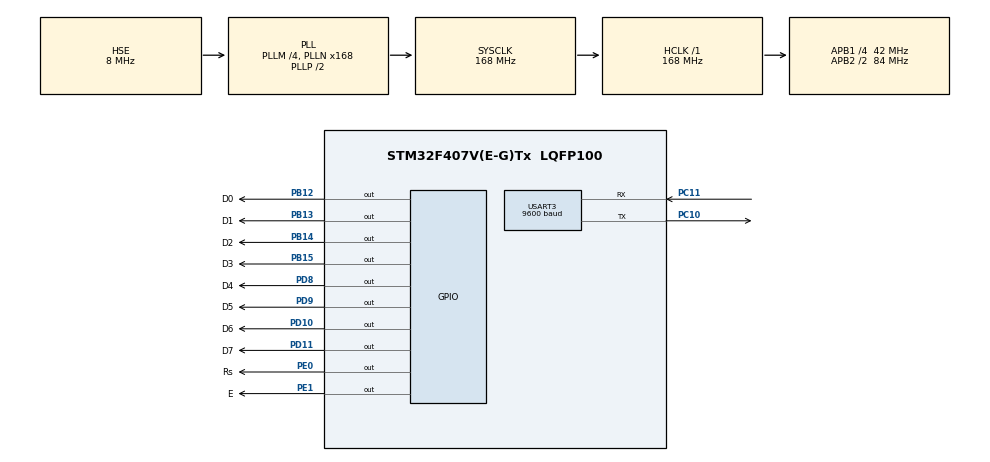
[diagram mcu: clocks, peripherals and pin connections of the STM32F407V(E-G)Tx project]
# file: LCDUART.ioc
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Mcu.Family=STM32F4
Mcu.Name=STM32F407V(E-G)Tx
Mcu.Package=LQFP100
NVIC.PriorityGroup=NVIC_PRIORITYGROUP_4
NVIC.USART3_IRQn=true\:0\:0\:false\:false\:true\:true\:true
PB12.GPIO_Label=D0
PB12.Signal=GPIO_Output
PB13.GPIO_Label=D1
PB13.Signal=GPIO_Output
PB14.GPIO_Label=D2
PB14.Signal=GPIO_Output
PB15.GPIO_Label=D3
PB15.Signal=GPIO_Output
PC10.Mode=Asynchronous
PC10.Signal=USART3_TX
PC11.Mode=Asynchronous
PC11.Signal=USART3_RX
PD10.GPIO_Label=D6
PD10.Signal=GPIO_Output
PD11.GPIO_Label=D7
PD11.Signal=GPIO_Output
PD8.GPIO_Label=D4
PD8.Signal=GPIO_Output
PD9.GPIO_Label=D5
PD9.Signal=GPIO_Output
PE0.GPIO_Label=Rs
PE0.Signal=GPIO_Output
PE1.GPIO_Label=E
PE1.Signal=GPIO_Output
PH0-OSC_IN.Mode=HSE-External-Oscillator
PH0-OSC_IN.Signal=RCC_OSC_IN
PH1-OSC_OUT.Mode=HSE-External-Oscillator
PH1-OSC_OUT.Signal=RCC_OSC_OUT
ProjectManager.HeapSize=0x200
ProjectManager.StackSize=0x400
ProjectManager.TargetToolchain=SW4STM32
RCC.48MHZClocksFreq_Value=84000000
RCC.AHBFreq_Value=168000000
RCC.APB1CLKDivider=RCC_HCLK_DIV4
RCC.APB1Freq_Value=42000000
RCC.APB1TimFreq_Value=84000000
RCC.APB2CLKDivider=RCC_HCLK_DIV2
RCC.APB2Freq_Value=84000000
RCC.APB2TimFreq_Value=168000000
RCC.CortexFreq_Value=168000000
RCC.HCLKFreq_Value=168000000
RCC.HSE_VALUE=8000000
RCC.HSI_VALUE=16000000
RCC.LSE_VALUE=32768
RCC.PLLM=4
RCC.PLLN=168
RCC.PLLSourceVirtual=RCC_PLLSOURCE_HSE
RCC.SYSCLKFreq_VALUE=168000000
RCC.SYSCLKSource=RCC_SYSCLKSOURCE_PLLCLK
RCC.VCOOutputFreq_Value=336000000
USART3.BaudRate=9600
USART3.VirtualMode=VM_ASYNC
board=custom

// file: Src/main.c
/* USER CODE BEGIN Header */
/**
  ******************************************************************************
  * @file           : main.c
  * @brief          : Main program body
  ******************************************************************************
  * @attention
  *
  * <h2><center>&copy; Copyright (c) 2019 STMicroelectronics.
  * All rights reserved.</center></h2>
  *
  * This software component is licensed by ST under BSD 3-Clause license,
  * the "License"; You may not use this file except in compliance with the
  * License. You may obtain a copy of the License at:
  *                        opensource.org/licenses/BSD-3-Clause
  *
  ******************************************************************************
  */
/* USER CODE END Header */

#include "main.h"

/* USER CODE BEGIN Includes */
#include "stm32f4xx_hal_conf.h"
#include "STM_MY_LCD16X2.h"
/* USER CODE END Includes */

UART_HandleTypeDef huart3;

/* USER CODE BEGIN PV */
uint8_t sendUART[2] = {65, 'B'};
uint16_t sizeSendUART = 2;
uint8_t receiveUART[64];
uint16_t sizeReceiveUART = 64;

/* USER CODE END PV */

void SystemClock_Config(void);
static void MX_GPIO_Init(void);
static void MX_USART3_UART_Init(void);

int main(void)
{
  /* USER CODE BEGIN 1 */
char wynik[64];
  /* USER CODE END 1 */

  /* MCU Configuration--------------------------------------------------------*/

  /* Reset of all peripherals, Initializes the Flash interface and the Systick. */
  HAL_Init();

  /* USER CODE BEGIN Init */
int coursorPosition = 1;
  /* USER CODE END Init */

  /* Configure the system clock */
  SystemClock_Config();

  /* USER CODE BEGIN SysInit */
  HAL_Delay(50);
  /* USER CODE END SysInit */

  /* Initialize all configured peripherals */
  MX_GPIO_Init();
  MX_USART3_UART_Init();
  /* USER CODE BEGIN 2 */
  LCD1602_Begin8BIT(Rs_GPIO_Port, Rs_Pin, E_Pin, D0_GPIO_Port, D0_Pin, D1_Pin, D2_Pin, D3_Pin, D4_GPIO_Port, D4_Pin, D5_Pin, D6_Pin, D7_Pin );
  LCD1602_SetCGRAM();
  LCD1602_noCursor();
  LCD1602_noBlink();
  LCD1602_1stLine();
  LCD1602_print("<<MUSIC Player>>");
  /* USER CODE END 2 */

  /* Infinite loop */
  /* USER CODE BEGIN WHILE */
  while (1)
  {
	  /*Receive data from PC*/
	  HAL_UART_Receive_IT(&huart3, receiveUART, sizeReceiveUART);

	  /*Display Spectrum*/
	  char data[2];
	  LCD1602_2ndLine();

	  for(int i=0; i< 32; i+=2){
		  LCD1602_setCursor(2, coursorPosition);
//		  data[0] = receiveUART[i];
//		  data[1] += receiveUART[i+1];
		  LCD1602_PrintBand(receiveUART[i]);
		  //LCD1602_print(data);
		  coursorPosition++;
	  }
//	  LCD1602_setCursor(2, 1);
//	  data[0] = receiveUART[0];
//	  LCD1602_setCursor(2, 2);
//	  data[1] += receiveUART[1];
//	  LCD1602_print(data);
//	  coursorPosition = 1;
//	  HAL_Delay(3000);

//	  LCD1602_print(receiveUART);
//	  LCD1602_print("SZMULA");
//	  LCD1602_DisplayTest();
//	  HAL_Delay(2000);

//	  LCD1602_clear();
    /* USER CODE END WHILE */

  }
}

void SystemClock_Config(void)
{
  RCC_OscInitTypeDef RCC_OscInitStruct = {0};
  RCC_ClkInitTypeDef RCC_ClkInitStruct = {0};

  /** Configure the main internal regulator output voltage
  */
  __HAL_RCC_PWR_CLK_ENABLE();
  __HAL_PWR_VOLTAGESCALING_CONFIG(PWR_REGULATOR_VOLTAGE_SCALE1);
  /** Initializes the CPU, AHB and APB busses clocks
  */
  RCC_OscInitStruct.OscillatorType = RCC_OSCILLATORTYPE_HSE;
  RCC_OscInitStruct.HSEState = RCC_HSE_ON;
  RCC_OscInitStruct.PLL.PLLState = RCC_PLL_ON;
  RCC_OscInitStruct.PLL.PLLSource = RCC_PLLSOURCE_HSE;
  RCC_OscInitStruct.PLL.PLLM = 4;
  RCC_OscInitStruct.PLL.PLLN = 168;
  RCC_OscInitStruct.PLL.PLLP = RCC_PLLP_DIV2;
  RCC_OscInitStruct.PLL.PLLQ = 4;
  if (HAL_RCC_OscConfig(&RCC_OscInitStruct) != HAL_OK)
  {
    Error_Handler();
  }
  /** Initializes the CPU, AHB and APB busses clocks
  */
  RCC_ClkInitStruct.ClockType = RCC_CLOCKTYPE_HCLK|RCC_CLOCKTYPE_SYSCLK
                              |RCC_CLOCKTYPE_PCLK1|RCC_CLOCKTYPE_PCLK2;
  RCC_ClkInitStruct.SYSCLKSource = RCC_SYSCLKSOURCE_PLLCLK;
  RCC_ClkInitStruct.AHBCLKDivider = RCC_SYSCLK_DIV1;
  RCC_ClkInitStruct.APB1CLKDivider = RCC_HCLK_DIV4;
  RCC_ClkInitStruct.APB2CLKDivider = RCC_HCLK_DIV2;

  if (HAL_RCC_ClockConfig(&RCC_ClkInitStruct, FLASH_LATENCY_5) != HAL_OK)
  {
    Error_Handler();
  }
}

static void MX_USART3_UART_Init(void)
{

  huart3.Instance = USART3;
  huart3.Init.BaudRate = 9600;
  huart3.Init.WordLength = UART_WORDLENGTH_8B;
  huart3.Init.StopBits = UART_STOPBITS_1;
  huart3.Init.Parity = UART_PARITY_NONE;
  huart3.Init.Mode = UART_MODE_TX_RX;
  huart3.Init.HwFlowCtl = UART_HWCONTROL_NONE;
  huart3.Init.OverSampling = UART_OVERSAMPLING_16;
  if (HAL_UART_Init(&huart3) != HAL_OK)
  {
    Error_Handler();
  }

}

static void MX_GPIO_Init(void)
{
  GPIO_InitTypeDef GPIO_InitStruct = {0};

  /* GPIO Ports Clock Enable */
  __HAL_RCC_GPIOH_CLK_ENABLE();
  __HAL_RCC_GPIOB_CLK_ENABLE();
  __HAL_RCC_GPIOD_CLK_ENABLE();
  __HAL_RCC_GPIOC_CLK_ENABLE();
  __HAL_RCC_GPIOE_CLK_ENABLE();

  /*Configure GPIO pin Output Level */
  HAL_GPIO_WritePin(GPIOB, D0_Pin|D1_Pin|D2_Pin|D3_Pin, GPIO_PIN_RESET);

  /*Configure GPIO pin Output Level */
  HAL_GPIO_WritePin(GPIOD, D4_Pin|D5_Pin|D6_Pin|D7_Pin, GPIO_PIN_RESET);

  /*Configure GPIO pin Output Level */
  HAL_GPIO_WritePin(GPIOE, Rs_Pin|E_Pin, GPIO_PIN_RESET);

  /*Configure GPIO pins : D0_Pin D1_Pin D2_Pin D3_Pin */
  GPIO_InitStruct.Pin = D0_Pin|D1_Pin|D2_Pin|D3_Pin;
  GPIO_InitStruct.Mode = GPIO_MODE_OUTPUT_PP;
  GPIO_InitStruct.Pull = GPIO_NOPULL;
  GPIO_InitStruct.Speed = GPIO_SPEED_FREQ_LOW;
  HAL_GPIO_Init(GPIOB, &GPIO_InitStruct);

  /*Configure GPIO pins : D4_Pin D5_Pin D6_Pin D7_Pin */
  GPIO_InitStruct.Pin = D4_Pin|D5_Pin|D6_Pin|D7_Pin;
  GPIO_InitStruct.Mode = GPIO_MODE_OUTPUT_PP;
  GPIO_InitStruct.Pull = GPIO_NOPULL;
  GPIO_InitStruct.Speed = GPIO_SPEED_FREQ_LOW;
  HAL_GPIO_Init(GPIOD, &GPIO_InitStruct);

  /*Configure GPIO pins : Rs_Pin E_Pin */
  GPIO_InitStruct.Pin = Rs_Pin|E_Pin;
  GPIO_InitStruct.Mode = GPIO_MODE_OUTPUT_PP;
  GPIO_InitStruct.Pull = GPIO_NOPULL;
  GPIO_InitStruct.Speed = GPIO_SPEED_FREQ_LOW;
  HAL_GPIO_Init(GPIOE, &GPIO_InitStruct);

}

void Error_Handler(void)
{
}

/************************ (C) COPYRIGHT STMicroelectronics *****END OF FILE****/
